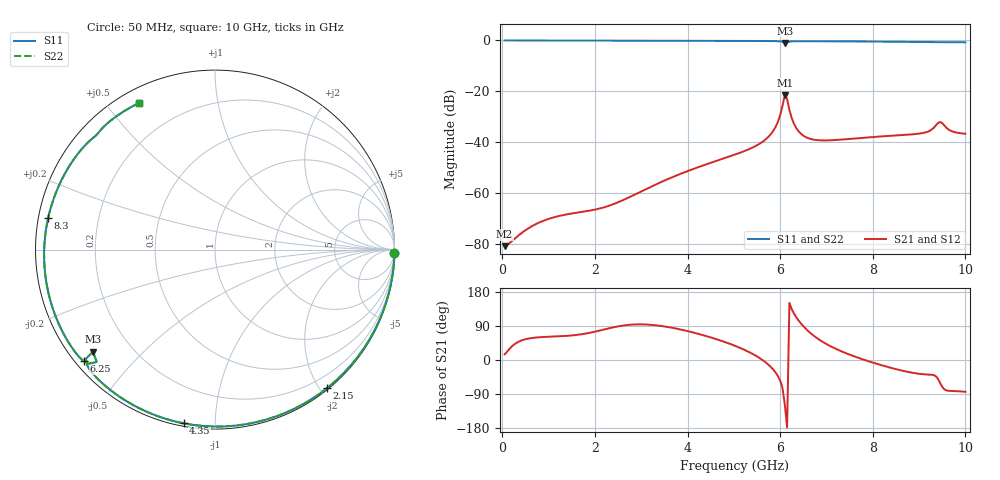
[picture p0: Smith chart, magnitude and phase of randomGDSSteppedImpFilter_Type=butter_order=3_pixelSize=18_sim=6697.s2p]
! freq	dB(S11)	phase(S11)	dB(S12)	phase(S12)
!  dB(S21)	phase(S21)	dB(S22)	phase(S22)
!S-par simulation data
#  GHz  S  DB  R 50
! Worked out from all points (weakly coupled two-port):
!   200 points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, 50 MHz to 10 GHz, reference 50 ohm
!   highest |S21| = -21.62 dB at 6.1 GHz (marker M1); lowest = -81.0 dB at 50 MHz (marker M2)
!   lowest |S11| = -1.0 dB at 6.1 GHz (marker M3), VSWR 16.70, Z = 3.39 - j18.1 ohm
!   |S11| at or under -10 dB: nowhere
!   |S22| runs from -1.0 to 0.0 dB; largest |S21 - S12| = 0
!   S11 on the Smith chart (normalised r, x): 50 MHz: 0, -94; 2.15 GHz: 0.02, -2.09; 4.35 GHz: 0.01, -0.84; 6.25 GHz: 0.02, -0.37; 8.3 GHz: 0.03, +0.09; 10 GHz: 0.06, +0.61
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0.05  -0.00 -1.2  -81.03 14.7  -81.03 14.7  -0.00 -1.2
0.85  -0.02 -20.6  -71.30 60.4  -71.30 60.4  -0.02 -20.6
1.75  -0.05 -41.8  -67.45 68.7  -67.45 68.7  -0.05 -41.8
2.15  -0.07 -51.1  -65.98 79.1  -65.98 79.1  -0.07 -51.1
3.4  -0.11 -79.4  -56.02 90.3  -56.02 90.3  -0.11 -79.4
4.35  -0.14 -100.2  -49.14 65.0  -49.14 65.0  -0.14 -100.2
5.05  -0.18 -115.5  -44.78 36.2  -44.78 36.2  -0.18 -115.5
5.5  -0.21 -125.4  -41.29 9.4  -41.29 9.4  -0.21 -125.4
5.8  -0.24 -132.3  -36.87 -18.6  -36.87 -18.6  -0.24 -132.3
5.95  -0.29 -136.3  -32.12 -41.8  -32.12 -41.8  -0.29 -136.3
6.1  -1.04 -140.1  -21.62 -116.7  -21.62 -116.7  -1.04 -140.1
6.15  -0.83 -136.4  -23.09 -177.9  -23.09 -177.9  -0.83 -136.4
6.25  -0.36 -139.7  -30.60 134.1  -30.60 134.1  -0.36 -139.7
6.45  -0.30 -145.1  -36.77 96.3  -36.77 96.3  -0.30 -145.1
6.7  -0.31 -151.1  -38.99 66.4  -38.99 66.4  -0.31 -151.1
7.55  -0.39 -171.4  -38.72 11.9  -38.72 11.9  -0.39 -171.4
8.3  -0.48 169.3  -37.65 -17.6  -37.65 -17.6  -0.48 169.3
8.35  -0.49 167.9  -37.59 -19.3  -37.59 -19.3  -0.49 167.9
9.15  -0.61 144.8  -36.17 -38.0  -36.17 -38.0  -0.61 144.8
9.45  -0.74 135.8  -32.09 -59.5  -32.09 -59.5  -0.74 135.8
9.7  -0.69 127.7  -35.70 -81.7  -35.70 -81.7  -0.69 127.7
10  -0.73 117.4  -36.75 -84.0  -36.75 -84.0  -0.73 117.3
